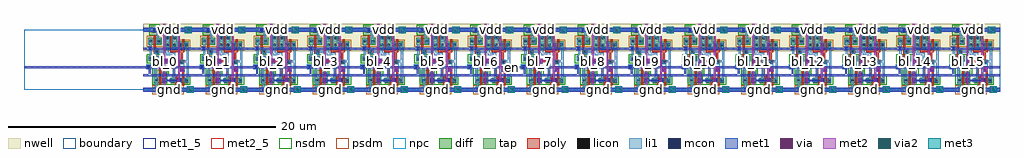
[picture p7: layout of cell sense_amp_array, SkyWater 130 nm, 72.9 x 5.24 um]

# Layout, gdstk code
import gdstk
lib = gdstk.Library(unit=1e-6, precision=1e-09)
def R(c, l, rs):  # rectangles x0, y0, x1, y1
    for r in rs: c.add(gdstk.rectangle(r[:2], r[2:], *l))
def A(c, l, x, y, w, h, nx, ny, dx, dy):  # array of equal rectangles
    R(c, l, [(x+i*dx, y+j*dy, x+i*dx+w, y+j*dy+h) for i in range(nx) for j in range(ny)])
nwell = (64, 20)
diff = (65, 20)
tap = (65, 44)
poly = (66, 20)
licon = (66, 44)
li1 = (67, 20)
mcon = (67, 44)
met1_5 = (68, 5)
met1 = (68, 20)
via = (68, 44)
met2_5 = (69, 5)
met2 = (69, 20)
via2 = (69, 44)
met3 = (70, 20)
nsdm = (93, 44)
psdm = (94, 20)
npc = (95, 20)
boundary = (235, 4)

sense_amp = lib.new_cell('sense_amp')
R(sense_amp, nwell, [(0,2.87,4,4.9)])
R(sense_amp, diff, [(0.79,0.48,1.79,1.48), (2.06,0.48,3.41,0.9), (0.38,2.1,1.38,2.52), (1.65,3.05,3.41,3.6), (0.38,3.33,1.38,3.88), (1.65,3.6,2.56,4.05)])
R(sense_amp, tap, [(0.79,-0.21,1.2,0.2), (2.48,-0.21,2.89,0.2), (0.57,4.19,1.1,4.72)])
R(sense_amp, poly, [(1.19,0.33,1.34,1.58), (2.41,0.33,2.56,0.98), (2.92,0.33,3.07,1.34), (2.26,0.98,2.56,1.13), (2.26,1.13,2.41,2.04), (2.74,1.34,3.07,1.67), (0.24,1.53,0.57,1.58), (0.24,1.58,1.34,1.73), (0.24,1.73,0.57,1.86), (2.73,1.89,3.06,2.22), (0.78,1.95,0.93,2.66), (1.5,1.96,1.83,2.04), (1.5,2.04,2.41,2.2), (1.5,2.2,1.83,2.29), (2.8,2.22,2.95,2.79), (0.78,2.66,1.17,2.99), (2.02,2.79,3.07,2.97), (2.02,2.97,2.17,4.22), (2.92,2.97,3.07,3.77), (0.78,2.99,0.93,4.05)])
R(sense_amp, licon, [(0.91,-0.09,1.08,0.08), (2.6,-0.09,2.77,0.08), (0.89,0.61,1.06,0.78), (1.49,0.61,1.66,0.78), (2.14,0.61,2.31,0.78), (2.66,0.61,2.83,0.78), (3.16,0.61,3.33,0.78), (1.49,1.04,1.66,1.21), (2.82,1.42,2.99,1.59), (0.32,1.61,0.49,1.78), (2.81,1.97,2.98,2.14), (1.58,2.04,1.75,2.21), (0.48,2.23,0.65,2.4), (1.08,2.23,1.25,2.4), (0.92,2.74,1.09,2.91), (1.75,3.24,1.92,3.41), (2.26,3.24,2.43,3.41), (2.66,3.24,2.83,3.41), (3.16,3.24,3.33,3.41), (0.48,3.52,0.65,3.69), (1.08,3.52,1.25,3.69), (1.75,3.77,1.92,3.94), (2.26,3.77,2.43,3.94), (0.75,4.37,0.92,4.54)])
R(sense_amp, li1, [(0.83,-0.17,1.16,-0.09), (2.52,-0.17,2.85,-0.09), (0,-0.09,4,0.08), (0.83,0.08,1.16,0.16), (2.52,0.08,2.85,0.16), (0.91,0.16,1.08,0.53), (0.81,0.53,1.14,0.89), (1.41,0.53,1.74,1.29), (1.98,0.53,2.39,0.86), (2.58,0.53,2.91,0.86), (3.08,0.53,3.41,0.83), (3.24,0.83,3.41,2.03), (2.22,0.86,2.39,2.58), (0.81,0.89,0.98,1.74), (2.74,1.34,3.07,1.67), (0.24,1.53,0.57,1.86), (0.81,1.74,1.31,1.91), (2.73,1.89,3.06,2.03), (1.14,1.91,1.31,2.15), (1.5,1.96,1.83,2.29), (2.73,2.03,3.41,2.2), (0.4,2.15,0.73,2.48), (1,2.15,1.33,2.48), (2.73,2.2,3.06,2.22), (3.24,2.2,3.41,3.16), (0.48,2.48,0.65,2.98), (1.73,2.58,2.39,2.74), (0.84,2.66,1.17,2.74), (0.84,2.74,2.39,2.75), (0.84,2.75,1.9,2.91), (0.84,2.91,1.17,2.99), (1.73,2.91,1.9,3.16), (0.42,2.98,0.65,3.15), (0.48,3.15,0.65,3.44), (1.67,3.16,2,4.02), (2.18,3.16,2.91,3.49), (3.08,3.16,3.41,3.49), (0.4,3.44,0.73,3.77), (1,3.44,1.33,3.77), (2.18,3.49,2.51,4.02), (1,3.77,1.17,4.29), (2.18,4.02,2.37,4.37), (0.67,4.29,1.17,4.37), (0,4.37,4,4.54), (0.67,4.54,1,4.62)])
R(sense_amp, mcon, [(0.91,-0.09,1.08,0.08), (1.53,-0.09,1.7,0.08), (2.6,-0.09,2.77,0.08), (3.45,-0.09,3.62,0.08), (1.49,0.61,1.66,0.78), (2.66,0.61,2.83,0.78), (2.82,1.42,2.99,1.59), (0.32,1.61,0.49,1.78), (1.58,2.04,1.75,2.21), (0.42,2.98,0.59,3.15), (0.75,4.37,0.92,4.54), (3.3,4.37,3.47,4.54)])
R(sense_amp, met1_5, [(1.7,-0.05,1.83,0.05), (0.34,1.6,0.48,1.73), (0.44,3.01,0.58,3.14), (2.17,4.4,2.3,4.5)])
R(sense_amp, met1, [(0,-0.15,4,0.14), (0,-0.15,4,0.14), (1.43,0.55,1.72,0.61), (2.6,0.55,2.89,0.61), (1.43,0.61,2.89,0.75), (1.43,0.75,1.72,0.84), (2.6,0.75,2.89,0.84), (0,0.99,4,1.13), (0.43,1.13,0.57,1.55), (2.74,1.34,3.07,1.67), (0.26,1.55,0.57,1.79), (0.26,1.55,0.57,1.79), (0.26,1.79,0.55,1.84), (1.5,1.96,1.83,2.29), (0.36,2.92,0.65,2.98), (0,2.98,4,3.12), (0,2.98,4,3.12), (0.36,3.12,0.65,3.21), (0,4.31,4,4.6), (0,4.31,4,4.6)])
R(sense_amp, via, [(3.45,-0.08,3.6,0.07), (2.825,1.425,2.975,1.575), (1.585,2.045,1.735,2.195), (3.31,4.38,3.46,4.53)])
R(sense_amp, met2_5, [(2.85,1.44,2.97,1.57), (1.61,2.07,1.73,2.19)])
R(sense_amp, met2, [(3.3,-0.23,3.75,0.22), (1.5,-0.21,1.64,1.96), (2.61,-0.21,2.75,1.34), (2.61,1.34,3.07,1.67), (2.61,1.34,3.07,1.67), (2.61,1.67,2.75,4.9), (1.5,1.96,1.83,2.29), (1.5,1.96,1.83,2.29), (1.5,2.29,1.64,4.9), (3.16,4.23,3.61,4.68)])
R(sense_amp, via2, [(3.425,-0.105,3.625,0.095), (3.285,4.355,3.485,4.555)])
R(sense_amp, met3, [(3.25,-0.25,3.77,0.25), (3.1,4.2,3.63,4.7)])
R(sense_amp, nsdm, [(0.665,0.355,3.535,1.025), (0.665,1.025,1.915,1.605), (0.665,1.605,1.505,1.975), (0.255,1.975,1.505,2.645), (0.445,4.065,1.225,4.845)])
R(sense_amp, psdm, [(0.665,-0.335,1.325,0.325), (2.355,-0.335,3.015,0.325), (1.525,2.925,3.535,3.205), (0.255,3.205,3.535,3.725), (0.255,3.725,2.685,4.005), (1.315,4.005,2.685,4.055), (1.525,4.055,2.685,4.175)])
R(sense_amp, npc, [(2.72,1.32,3.09,1.69), (0.22,1.51,0.59,1.88), (2.72,1.69,3.08,1.87), (2.71,1.87,3.08,2.24), (1.48,1.94,1.85,2.31), (0.82,2.64,1.19,3.01)])
R(sense_amp, boundary, [(0,0,4,4.45)])
sense_amp.add(gdstk.Label('bl', (1.67,2.13), layer=69, texttype=5))
sense_amp.add(gdstk.Label('br', (2.91,1.505), layer=69, texttype=5))
sense_amp.add(gdstk.Label('dout', (0.51,3.075), layer=68, texttype=5))
sense_amp.add(gdstk.Label('en', (0.41,1.665), layer=68, texttype=5))
sense_amp.add(gdstk.Label('vdd', (2.235,4.45), layer=68, texttype=5))
sense_amp.add(gdstk.Label('gnd', (1.765,0), layer=68, texttype=5))
sense_amp.add(gdstk.Label('bl', (1.665,2.125), layer=69, texttype=20))
sense_amp.add(gdstk.Label('br', (2.84,1.505), layer=69, texttype=20))
sense_amp.add(gdstk.Label('dout', (2,3.05), layer=68, texttype=20))
sense_amp.add(gdstk.Label('en', (0.415,1.67), layer=68, texttype=20))
sense_amp.add(gdstk.Label('vdd', (2,4.455), layer=68, texttype=20))
sense_amp.add(gdstk.Label('gnd', (2,-0.005), layer=68, texttype=20))

contact_6 = lib.new_cell('contact_6')
R(contact_6, met1, [(0,0,0.46,0.46)])
R(contact_6, via, [(0.1,0.1,0.36,0.36)])
R(contact_6, met2, [(0,0,0.46,0.46)])
R(contact_6, boundary, [(0,0,0.46,0.46)])

contact_7 = lib.new_cell('contact_7')
R(contact_7, met2, [(0,0,0.46,0.46)])
R(contact_7, via2, [(0.09,0.09,0.37,0.37)])
R(contact_7, met3, [(0.01,0.01,0.45,0.45)])
R(contact_7, boundary, [(0,0,0.46,0.46)])

sense_amp_array = lib.new_cell('sense_amp_array')
A(sense_amp_array, met1, 9.24, 1.6, 0.14, 0.14, 16, 1, 4, 0)
A(sense_amp_array, met1, 8.9, 2.98, 4, 0.14, 16, 1, 4, 0)
R(sense_amp_array, met1, [(0,1.6,72.9,1.74)])
A(sense_amp_array, met2, 11.51, 1.34, 0.46, 0.33, 16, 1, 4, 0)
A(sense_amp_array, met2, 10.4, 1.96, 0.33, 0.33, 16, 1, 4, 0)
A(sense_amp_array, met3, 10.67, -0.24, 0.46, 0.46, 16, 2, 4, 4.46)
R(sense_amp_array, boundary, [(0,0,72.9,4.45)])
sense_amp_array.add(gdstk.Reference(sense_amp, (8.9,0)))
sense_amp_array.add(gdstk.Reference(sense_amp, (12.9,0)))
sense_amp_array.add(gdstk.Reference(sense_amp, (16.9,0)))
sense_amp_array.add(gdstk.Reference(sense_amp, (20.9,0)))
sense_amp_array.add(gdstk.Reference(sense_amp, (24.9,0)))
sense_amp_array.add(gdstk.Reference(sense_amp, (28.9,0)))
sense_amp_array.add(gdstk.Reference(sense_amp, (32.9,0)))
sense_amp_array.add(gdstk.Reference(sense_amp, (36.9,0)))
sense_amp_array.add(gdstk.Reference(sense_amp, (40.9,0)))
sense_amp_array.add(gdstk.Reference(sense_amp, (44.9,0)))
sense_amp_array.add(gdstk.Reference(sense_amp, (48.9,0)))
sense_amp_array.add(gdstk.Reference(sense_amp, (52.9,0)))
sense_amp_array.add(gdstk.Reference(sense_amp, (56.9,0)))
sense_amp_array.add(gdstk.Reference(sense_amp, (60.9,0)))
sense_amp_array.add(gdstk.Reference(sense_amp, (64.9,0)))
sense_amp_array.add(gdstk.Reference(sense_amp, (68.9,0)))
sense_amp_array.add(gdstk.Reference(contact_6, (10.67,-0.24)))
sense_amp_array.add(gdstk.Reference(contact_7, (10.67,-0.24)))
sense_amp_array.add(gdstk.Reference(contact_6, (10.67,4.22)))
sense_amp_array.add(gdstk.Reference(contact_7, (10.67,4.22)))
sense_amp_array.add(gdstk.Reference(contact_6, (14.67,-0.24)))
sense_amp_array.add(gdstk.Reference(contact_7, (14.67,-0.24)))
sense_amp_array.add(gdstk.Reference(contact_6, (14.67,4.22)))
sense_amp_array.add(gdstk.Reference(contact_7, (14.67,4.22)))
sense_amp_array.add(gdstk.Reference(contact_6, (18.67,-0.24)))
sense_amp_array.add(gdstk.Reference(contact_7, (18.67,-0.24)))
sense_amp_array.add(gdstk.Reference(contact_6, (18.67,4.22)))
sense_amp_array.add(gdstk.Reference(contact_7, (18.67,4.22)))
sense_amp_array.add(gdstk.Reference(contact_6, (22.67,-0.24)))
sense_amp_array.add(gdstk.Reference(contact_7, (22.67,-0.24)))
sense_amp_array.add(gdstk.Reference(contact_6, (22.67,4.22)))
sense_amp_array.add(gdstk.Reference(contact_7, (22.67,4.22)))
sense_amp_array.add(gdstk.Reference(contact_6, (26.67,-0.24)))
sense_amp_array.add(gdstk.Reference(contact_7, (26.67,-0.24)))
sense_amp_array.add(gdstk.Reference(contact_6, (26.67,4.22)))
sense_amp_array.add(gdstk.Reference(contact_7, (26.67,4.22)))
sense_amp_array.add(gdstk.Reference(contact_6, (30.67,-0.24)))
sense_amp_array.add(gdstk.Reference(contact_7, (30.67,-0.24)))
sense_amp_array.add(gdstk.Reference(contact_6, (30.67,4.22)))
sense_amp_array.add(gdstk.Reference(contact_7, (30.67,4.22)))
sense_amp_array.add(gdstk.Reference(contact_6, (34.67,-0.24)))
sense_amp_array.add(gdstk.Reference(contact_7, (34.67,-0.24)))
sense_amp_array.add(gdstk.Reference(contact_6, (34.67,4.22)))
sense_amp_array.add(gdstk.Reference(contact_7, (34.67,4.22)))
sense_amp_array.add(gdstk.Reference(contact_6, (38.67,-0.24)))
sense_amp_array.add(gdstk.Reference(contact_7, (38.67,-0.24)))
sense_amp_array.add(gdstk.Reference(contact_6, (38.67,4.22)))
sense_amp_array.add(gdstk.Reference(contact_7, (38.67,4.22)))
sense_amp_array.add(gdstk.Reference(contact_6, (42.67,-0.24)))
sense_amp_array.add(gdstk.Reference(contact_7, (42.67,-0.24)))
sense_amp_array.add(gdstk.Reference(contact_6, (42.67,4.22)))
sense_amp_array.add(gdstk.Reference(contact_7, (42.67,4.22)))
sense_amp_array.add(gdstk.Reference(contact_6, (46.67,-0.24)))
sense_amp_array.add(gdstk.Reference(contact_7, (46.67,-0.24)))
sense_amp_array.add(gdstk.Reference(contact_6, (46.67,4.22)))
sense_amp_array.add(gdstk.Reference(contact_7, (46.67,4.22)))
sense_amp_array.add(gdstk.Reference(contact_6, (50.67,-0.24)))
sense_amp_array.add(gdstk.Reference(contact_7, (50.67,-0.24)))
sense_amp_array.add(gdstk.Reference(contact_6, (50.67,4.22)))
sense_amp_array.add(gdstk.Reference(contact_7, (50.67,4.22)))
sense_amp_array.add(gdstk.Reference(contact_6, (54.67,-0.24)))
sense_amp_array.add(gdstk.Reference(contact_7, (54.67,-0.24)))
sense_amp_array.add(gdstk.Reference(contact_6, (54.67,4.22)))
sense_amp_array.add(gdstk.Reference(contact_7, (54.67,4.22)))
sense_amp_array.add(gdstk.Reference(contact_6, (58.67,-0.24)))
sense_amp_array.add(gdstk.Reference(contact_7, (58.67,-0.24)))
sense_amp_array.add(gdstk.Reference(contact_6, (58.67,4.22)))
sense_amp_array.add(gdstk.Reference(contact_7, (58.67,4.22)))
sense_amp_array.add(gdstk.Reference(contact_6, (62.67,-0.24)))
sense_amp_array.add(gdstk.Reference(contact_7, (62.67,-0.24)))
sense_amp_array.add(gdstk.Reference(contact_6, (62.67,4.22)))
sense_amp_array.add(gdstk.Reference(contact_7, (62.67,4.22)))
sense_amp_array.add(gdstk.Reference(contact_6, (66.67,-0.24)))
sense_amp_array.add(gdstk.Reference(contact_7, (66.67,-0.24)))
sense_amp_array.add(gdstk.Reference(contact_6, (66.67,4.22)))
sense_amp_array.add(gdstk.Reference(contact_7, (66.67,4.22)))
sense_amp_array.add(gdstk.Reference(contact_6, (70.67,-0.24)))
sense_amp_array.add(gdstk.Reference(contact_7, (70.67,-0.24)))
sense_amp_array.add(gdstk.Reference(contact_6, (70.67,4.22)))
sense_amp_array.add(gdstk.Reference(contact_7, (70.67,4.22)))
sense_amp_array.add(gdstk.Label('gnd', (42.9,-0.01), layer=70, texttype=20))
sense_amp_array.add(gdstk.Label('gnd', (10.9,-0.01), layer=70, texttype=20))
sense_amp_array.add(gdstk.Label('gnd', (18.9,-0.01), layer=70, texttype=20))
sense_amp_array.add(gdstk.Label('gnd', (30.9,-0.01), layer=70, texttype=20))
sense_amp_array.add(gdstk.Label('gnd', (34.9,-0.01), layer=70, texttype=20))
sense_amp_array.add(gdstk.Label('gnd', (38.9,-0.01), layer=70, texttype=20))
sense_amp_array.add(gdstk.Label('gnd', (50.9,-0.01), layer=70, texttype=20))
sense_amp_array.add(gdstk.Label('gnd', (70.9,-0.01), layer=70, texttype=20))
sense_amp_array.add(gdstk.Label('gnd', (22.9,-0.01), layer=70, texttype=20))
sense_amp_array.add(gdstk.Label('gnd', (58.9,-0.01), layer=70, texttype=20))
sense_amp_array.add(gdstk.Label('gnd', (26.9,-0.01), layer=70, texttype=20))
sense_amp_array.add(gdstk.Label('gnd', (54.9,-0.01), layer=70, texttype=20))
sense_amp_array.add(gdstk.Label('gnd', (14.9,-0.01), layer=70, texttype=20))
sense_amp_array.add(gdstk.Label('gnd', (62.9,-0.01), layer=70, texttype=20))
sense_amp_array.add(gdstk.Label('gnd', (66.9,-0.01), layer=70, texttype=20))
sense_amp_array.add(gdstk.Label('gnd', (46.9,-0.01), layer=70, texttype=20))
sense_amp_array.add(gdstk.Label('vdd', (18.9,4.45), layer=70, texttype=20))
sense_amp_array.add(gdstk.Label('vdd', (54.9,4.45), layer=70, texttype=20))
sense_amp_array.add(gdstk.Label('vdd', (34.9,4.45), layer=70, texttype=20))
sense_amp_array.add(gdstk.Label('vdd', (66.9,4.45), layer=70, texttype=20))
sense_amp_array.add(gdstk.Label('vdd', (30.9,4.45), layer=70, texttype=20))
sense_amp_array.add(gdstk.Label('vdd', (42.9,4.45), layer=70, texttype=20))
sense_amp_array.add(gdstk.Label('vdd', (50.9,4.45), layer=70, texttype=20))
sense_amp_array.add(gdstk.Label('vdd', (22.9,4.45), layer=70, texttype=20))
sense_amp_array.add(gdstk.Label('vdd', (58.9,4.45), layer=70, texttype=20))
sense_amp_array.add(gdstk.Label('vdd', (62.9,4.45), layer=70, texttype=20))
sense_amp_array.add(gdstk.Label('vdd', (38.9,4.45), layer=70, texttype=20))
sense_amp_array.add(gdstk.Label('vdd', (10.9,4.45), layer=70, texttype=20))
sense_amp_array.add(gdstk.Label('vdd', (46.9,4.45), layer=70, texttype=20))
sense_amp_array.add(gdstk.Label('vdd', (14.9,4.45), layer=70, texttype=20))
sense_amp_array.add(gdstk.Label('vdd', (26.9,4.45), layer=70, texttype=20))
sense_amp_array.add(gdstk.Label('vdd', (70.9,4.45), layer=70, texttype=20))
sense_amp_array.add(gdstk.Label('bl_0', (10.565,2.125), layer=69, texttype=20))
sense_amp_array.add(gdstk.Label('br_0', (11.74,1.505), layer=69, texttype=20))
sense_amp_array.add(gdstk.Label('data_0', (10.9,3.05), layer=68, texttype=20))
sense_amp_array.add(gdstk.Label('bl_1', (14.565,2.125), layer=69, texttype=20))
sense_amp_array.add(gdstk.Label('br_1', (15.74,1.505), layer=69, texttype=20))
sense_amp_array.add(gdstk.Label('data_1', (14.9,3.05), layer=68, texttype=20))
sense_amp_array.add(gdstk.Label('bl_2', (18.565,2.125), layer=69, texttype=20))
sense_amp_array.add(gdstk.Label('br_2', (19.74,1.505), layer=69, texttype=20))
sense_amp_array.add(gdstk.Label('data_2', (18.9,3.05), layer=68, texttype=20))
sense_amp_array.add(gdstk.Label('bl_3', (22.565,2.125), layer=69, texttype=20))
sense_amp_array.add(gdstk.Label('br_3', (23.74,1.505), layer=69, texttype=20))
sense_amp_array.add(gdstk.Label('data_3', (22.9,3.05), layer=68, texttype=20))
sense_amp_array.add(gdstk.Label('bl_4', (26.565,2.125), layer=69, texttype=20))
sense_amp_array.add(gdstk.Label('br_4', (27.74,1.505), layer=69, texttype=20))
sense_amp_array.add(gdstk.Label('data_4', (26.9,3.05), layer=68, texttype=20))
sense_amp_array.add(gdstk.Label('bl_5', (30.565,2.125), layer=69, texttype=20))
sense_amp_array.add(gdstk.Label('br_5', (31.74,1.505), layer=69, texttype=20))
sense_amp_array.add(gdstk.Label('data_5', (30.9,3.05), layer=68, texttype=20))
sense_amp_array.add(gdstk.Label('bl_6', (34.565,2.125), layer=69, texttype=20))
sense_amp_array.add(gdstk.Label('br_6', (35.74,1.505), layer=69, texttype=20))
sense_amp_array.add(gdstk.Label('data_6', (34.9,3.05), layer=68, texttype=20))
sense_amp_array.add(gdstk.Label('bl_7', (38.565,2.125), layer=69, texttype=20))
sense_amp_array.add(gdstk.Label('br_7', (39.74,1.505), layer=69, texttype=20))
sense_amp_array.add(gdstk.Label('data_7', (38.9,3.05), layer=68, texttype=20))
sense_amp_array.add(gdstk.Label('bl_8', (42.565,2.125), layer=69, texttype=20))
sense_amp_array.add(gdstk.Label('br_8', (43.74,1.505), layer=69, texttype=20))
sense_amp_array.add(gdstk.Label('data_8', (42.9,3.05), layer=68, texttype=20))
sense_amp_array.add(gdstk.Label('bl_9', (46.565,2.125), layer=69, texttype=20))
sense_amp_array.add(gdstk.Label('br_9', (47.74,1.505), layer=69, texttype=20))
sense_amp_array.add(gdstk.Label('data_9', (46.9,3.05), layer=68, texttype=20))
sense_amp_array.add(gdstk.Label('bl_10', (50.565,2.125), layer=69, texttype=20))
sense_amp_array.add(gdstk.Label('br_10', (51.74,1.505), layer=69, texttype=20))
sense_amp_array.add(gdstk.Label('data_10', (50.9,3.05), layer=68, texttype=20))
sense_amp_array.add(gdstk.Label('bl_11', (54.565,2.125), layer=69, texttype=20))
sense_amp_array.add(gdstk.Label('br_11', (55.74,1.505), layer=69, texttype=20))
sense_amp_array.add(gdstk.Label('data_11', (54.9,3.05), layer=68, texttype=20))
sense_amp_array.add(gdstk.Label('bl_12', (58.565,2.125), layer=69, texttype=20))
sense_amp_array.add(gdstk.Label('br_12', (59.74,1.505), layer=69, texttype=20))
sense_amp_array.add(gdstk.Label('data_12', (58.9,3.05), layer=68, texttype=20))
sense_amp_array.add(gdstk.Label('bl_13', (62.565,2.125), layer=69, texttype=20))
sense_amp_array.add(gdstk.Label('br_13', (63.74,1.505), layer=69, texttype=20))
sense_amp_array.add(gdstk.Label('data_13', (62.9,3.05), layer=68, texttype=20))
sense_amp_array.add(gdstk.Label('bl_14', (66.565,2.125), layer=69, texttype=20))
sense_amp_array.add(gdstk.Label('br_14', (67.74,1.505), layer=69, texttype=20))
sense_amp_array.add(gdstk.Label('data_14', (66.9,3.05), layer=68, texttype=20))
sense_amp_array.add(gdstk.Label('bl_15', (70.565,2.125), layer=69, texttype=20))
sense_amp_array.add(gdstk.Label('br_15', (71.74,1.505), layer=69, texttype=20))
sense_amp_array.add(gdstk.Label('data_15', (70.9,3.05), layer=68, texttype=20))
sense_amp_array.add(gdstk.Label('en', (36.45,1.67), layer=68, texttype=20))

lib.write_gds('sense_amp_array.gds')
